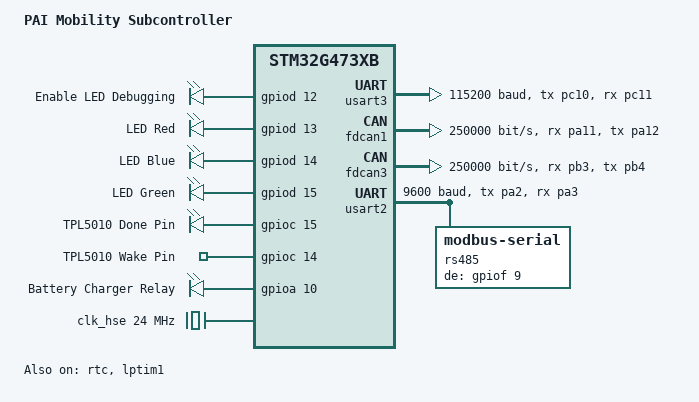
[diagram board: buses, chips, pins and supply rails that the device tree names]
/*
 * Copyright (c) 2023 Andreas Sandberg
 *
 * SPDX-License-Identifier: Apache-2.0
 */

/dts-v1/;
#include <st/g4/stm32g473Xb.dtsi>
#include <st/g4/stm32g473v(b-c-e)hx-pinctrl.dtsi>

/ {
	model = "PAI Mobility Subcontroller";
	compatible = "powerlabs,pai-mobility-subcontroller";

	chosen {
		zephyr,console = &usart3;
		zephyr,shell-uart = &usart3;
		zephyr,sram = &sram0;
		zephyr,flash = &flash0;
	};

	aliases {
		can-device-battery = &fdcan1;
		can-device-paimoc = &fdcan3;
		watchdog0 = &iwdg;
		led0 = &led_red;
	};

	leds {
		compatible = "gpio-leds";

		enable_rgb_led: enable-led-rgb-debugging {
			gpios = <&gpiod 12 GPIO_ACTIVE_HIGH>;
			label = "Enable LED Debugging";
		};

		led_red: led_red {
			gpios = <&gpiod 13 GPIO_ACTIVE_HIGH>;
			label = "LED Red";
		};

		led_blue: led_blue {
			gpios = <&gpiod 14 GPIO_ACTIVE_HIGH>;
			label = "LED Blue";
		};

		led_green: led_green {
			gpios = <&gpiod 15 GPIO_ACTIVE_HIGH>;
			label = "LED Green";
		};
	};

	tpl5010 {
		done_pin{
			compatible = "gpio-leds";
			status = "okay";
			tpl5010_done_pin: tpl5010_done_pin {
				gpios = <&gpioc 15 GPIO_ACTIVE_HIGH>;
				label = "TPL5010 Done Pin";
			};
		};

		wake_pin {
			compatible = "gpio-keys";
			status = "okay";
			tpl5010_wake_pin: tpl5010_wake_pin {
				gpios = <&gpioc 14 GPIO_ACTIVE_HIGH>;
				label = "TPL5010 Wake Pin";
			};
		};
	};

	relays {
		compatible = "gpio-leds";
		status = "okay";
		battery_charger_relay: battery_charger_relay {
			gpios = <&gpioa 10 GPIO_ACTIVE_HIGH>;
			label = "Battery Charger Relay";
		};
	};
};

&clk_lsi {
	status = "okay";
};

&clk_lse {
	status = "disabled";
};

&clk_hsi {
	status = "disabled";
};

&clk_hse {
	status = "okay";
	clock-frequency = <DT_FREQ_M(24)>;
};

/** Using PLLCLK as the core clock source of 144MHz,
 * Set the AHB, APB1, and APB2 prescalers to 1 to achieve the same frequency for all buses.
 */
&rcc {
	status = "okay";
	clocks = <&pll>;
	clock-frequency = <DT_FREQ_M(144)>;
	ahb-prescaler = <1>;
	apb1-prescaler = <1>;
	apb2-prescaler = <1>;
};

/** Using the 24MHz external crystal, we can use the following PLL settings to
 * PLLCLK to 144MHz
 * PLLQ to 48MHz
 * PLLR to 144MHz
*/
&pll {
	status = "okay";
	div-m = <6>;
	mul-n = <72>;
	div-p = <2>;
	div-q = <6>;
	div-r = <2>;
	clocks = <&clk_hse>;
};

&rtc {
	status = "okay";
	clocks = <&rcc STM32_CLOCK(APB1, 10)>,
		 <&rcc STM32_SRC_LSI RTC_SEL(2)>;
};

stm32_lp_tick_source: &lptim1 {
	status = "okay";
	clocks = <&rcc STM32_CLOCK(APB1, 31)>,
		 <&rcc STM32_SRC_LSI LPTIM1_SEL(2)>;
};

&iwdg {
	status = "disabled";
};

&flash0 {
	partitions {
		compatible = "fixed-partitions";
		#address-cells = <1>;
		#size-cells = <1>;

		/* 4KiB of storage at the end of the 128KiB FLASH */
		storage_partition: partition@1f000 {
			label = "storage";
			reg = <0x0001f000 DT_SIZE_K(4)>;
		};
	};
};

usart_console: &usart3 {
	status = "okay";
	pinctrl-0 = <&usart3_tx_pc10 &usart3_rx_pc11>;
	pinctrl-names = "default";
	current-speed = <115200>;
};

&fdcan1 {
	status = "okay";
	bitrate = <250000>;
	/** Using PLLQ as the clock source for FDCAN1,
	* We can set the clock divider to 12 to achieve a 4MHz clock for the time quanta.
	*/
	clocks = <&rcc STM32_CLOCK(APB1, 25)>, <&rcc STM32_SRC_PLL_Q FDCAN_SEL(1)>;
	pinctrl-0 = <&fdcan1_rx_pa11 &fdcan1_tx_pa12>;
	pinctrl-names = "default";
	//! Clock divider shouldn't be set for any other fdcan instance than fdcan1, as all other instances will use the same clock source as fdcan1, and the divider will be applied to all of them.
	// No divider is set, time quanta will be se to 48MHz as the clock source is PLLQ, which is 48MHz. This will result in a time quanta of 1/48MHz = 20.833ns, which is the minimum time quanta for FDCAN.
	clk-divider= <1>;
	sample-point = <875>;

};

&fdcan3 {
	status = "okay";
	bitrate = <250000>;
	// reg = < 0x40006c00 0x400 >,
	// 		      < 0x4000ac00 0x400 >;
	/** Using PLLQ as the clock source for FDCAN1,
	* We can set the clock divider to 12 to achieve a 4MHz clock for the time quanta.
	*/
	clocks = <&rcc STM32_CLOCK(APB1, 25)>, <&rcc STM32_SRC_PLL_Q FDCAN_SEL(1)>;
	pinctrl-0 = <&fdcan3_rx_pb3 &fdcan3_tx_pb4>;
	pinctrl-names = "default";
	//! Clock divider shouldn't be set for any other fdcan instance than fdcan1, as all other instances will use the same clock source as fdcan1, and the divider will be applied to all of them.
	/** clk-divider= <1>; */
	sample-point-data = <875>;

};

usart_rs485: &usart2 {
	status = "okay";
	pinctrl-0 = <&usart2_tx_pa2 &usart2_rx_pa3>;
	pinctrl-names = "default";
	current-speed = <9600>;
	rs485: rs485 {
		status = "okay";
		compatible = "zephyr,modbus-serial";
		de-gpios = <&gpiof 9 GPIO_ACTIVE_HIGH>;
	};

};
